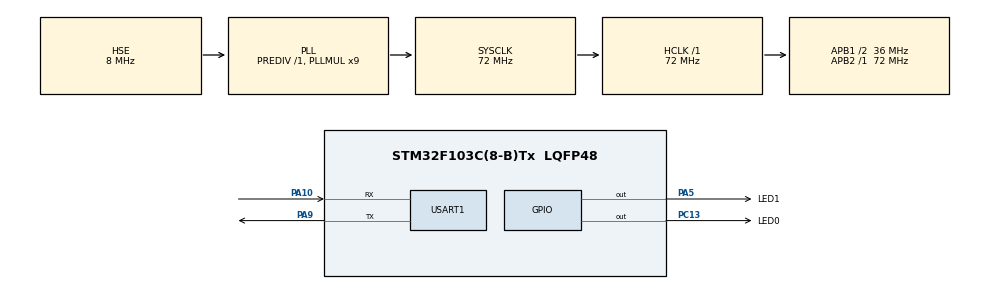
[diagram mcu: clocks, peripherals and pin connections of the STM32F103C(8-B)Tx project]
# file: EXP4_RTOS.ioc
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Mcu.Family=STM32F1
Mcu.Name=STM32F103C(8-B)Tx
Mcu.Package=LQFP48
NVIC.PriorityGroup=NVIC_PRIORITYGROUP_4
PA10.Mode=Asynchronous
PA10.Signal=USART1_RX
PA13.Mode=Serial_Wire
PA13.Signal=SYS_JTMS-SWDIO
PA14.Mode=Serial_Wire
PA14.Signal=SYS_JTCK-SWCLK
PA5.GPIO_Label=LED1
PA5.Signal=GPIO_Output
PA9.Mode=Asynchronous
PA9.Signal=USART1_TX
PC13-TAMPER-RTC.GPIO_Label=LED0
PC13-TAMPER-RTC.Signal=GPIO_Output
PD0-OSC_IN.Mode=HSE-External-Oscillator
PD0-OSC_IN.Signal=RCC_OSC_IN
PD1-OSC_OUT.Mode=HSE-External-Oscillator
PD1-OSC_OUT.Signal=RCC_OSC_OUT
ProjectManager.HeapSize=0x200
ProjectManager.StackSize=0x400
ProjectManager.TargetToolchain=MDK-ARM V5.32
RCC.AHBFreq_Value=72000000
RCC.APB1CLKDivider=RCC_HCLK_DIV2
RCC.APB1Freq_Value=36000000
RCC.APB1TimFreq_Value=72000000
RCC.APB2Freq_Value=72000000
RCC.APB2TimFreq_Value=72000000
RCC.HCLKFreq_Value=72000000
RCC.PLLMUL=RCC_PLL_MUL9
RCC.PLLSourceVirtual=RCC_PLLSOURCE_HSE
RCC.SYSCLKFreq_VALUE=72000000
RCC.SYSCLKSource=RCC_SYSCLKSOURCE_PLLCLK
RCC.USBFreq_Value=72000000
USART1.VirtualMode=VM_ASYNC
board=custom

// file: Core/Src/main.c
/* USER CODE BEGIN Header */
/**
  ******************************************************************************
  * @file           : main.c
  * @brief          : Main program body
  ******************************************************************************
  * @attention
  *
  * Copyright (c) 2026 STMicroelectronics.
  * All rights reserved.
  *
  * This software is licensed under terms that can be found in the LICENSE file
  * in the root directory of this software component.
  * If no LICENSE file comes with this software, it is provided AS-IS.
  *
  ******************************************************************************
  */
/* USER CODE END Header */
#include "main.h"
#include "usart.h"
#include "gpio.h"

/* USER CODE BEGIN Includes */
#include <includes.h>
/* USER CODE END Includes */

/* USER CODE BEGIN PD */
#define START_TASK_PRIO   3
#define LED0_TASK_PRIO    4
#define MSG_TASK_PRIO     5
#define LED1_TASK_PRIO    6

#define START_STK_SIZE    96
#define LED0_STK_SIZE     64
#define MSG_STK_SIZE      128
#define LED1_STK_SIZE     64
/* USER CODE END PD */

/* USER CODE BEGIN PV */
CPU_STK START_TASK_STK[START_STK_SIZE];
CPU_STK LED0_TASK_STK[LED0_STK_SIZE];
CPU_STK MSG_TASK_STK[MSG_STK_SIZE];
CPU_STK LED1_TASK_STK[LED1_STK_SIZE];

OS_TCB StartTaskTCB;
OS_TCB Led0TaskTCB;
OS_TCB MsgTaskTCB;
OS_TCB Led1TaskTCB;
/* USER CODE END PV */

void SystemClock_Config(void);
/* USER CODE BEGIN PFP */
void start_task(void *p_arg);
static void led0_task(void *p_arg);
static void led1_task(void *p_arg);
static void msg_task(void *p_arg);
/* USER CODE END PFP */

int main(void)
{

  /* MCU Configuration--------------------------------------------------------*/

  /* Reset of all peripherals, Initializes the Flash interface and the Systick. */
  HAL_Init();

  /* Configure the system clock */
  SystemClock_Config();

  /* Initialize all configured peripherals */
  MX_GPIO_Init();
  MX_USART1_UART_Init();
  /* USER CODE BEGIN 2 */
  OS_ERR err;
  OSInit(&err);

  OSTaskCreate((OS_TCB *)&StartTaskTCB,
             (CPU_CHAR *)"start_task",
             (OS_TASK_PTR)start_task,
             (void *)0,
             (OS_PRIO)START_TASK_PRIO,
             (CPU_STK *)&START_TASK_STK[0],
             (CPU_STK_SIZE)START_STK_SIZE / 10,
             (CPU_STK_SIZE)START_STK_SIZE,
             (OS_MSG_QTY)0,
             (OS_TICK)0,
             (void *)0,
             (OS_OPT)OS_OPT_TASK_STK_CHK | OS_OPT_TASK_STK_CLR,
             (OS_ERR *)&err);

  OSStart(&err);
  /* USER CODE END 2 */

  /* Infinite loop */
  while (1)
  {

  }
}

void SystemClock_Config(void)
{
  RCC_OscInitTypeDef RCC_OscInitStruct = {0};
  RCC_ClkInitTypeDef RCC_ClkInitStruct = {0};

  /** Initializes the RCC Oscillators according to the specified parameters
  * in the RCC_OscInitTypeDef structure.
  */
  RCC_OscInitStruct.OscillatorType = RCC_OSCILLATORTYPE_HSE;
  RCC_OscInitStruct.HSEState = RCC_HSE_ON;
  RCC_OscInitStruct.HSEPredivValue = RCC_HSE_PREDIV_DIV1;
  RCC_OscInitStruct.HSIState = RCC_HSI_ON;
  RCC_OscInitStruct.PLL.PLLState = RCC_PLL_ON;
  RCC_OscInitStruct.PLL.PLLSource = RCC_PLLSOURCE_HSE;
  RCC_OscInitStruct.PLL.PLLMUL = RCC_PLL_MUL9;
  if (HAL_RCC_OscConfig(&RCC_OscInitStruct) != HAL_OK)
  {
    Error_Handler();
  }

  /** Initializes the CPU, AHB and APB buses clocks
  */
  RCC_ClkInitStruct.ClockType = RCC_CLOCKTYPE_HCLK|RCC_CLOCKTYPE_SYSCLK
                              |RCC_CLOCKTYPE_PCLK1|RCC_CLOCKTYPE_PCLK2;
  RCC_ClkInitStruct.SYSCLKSource = RCC_SYSCLKSOURCE_PLLCLK;
  RCC_ClkInitStruct.AHBCLKDivider = RCC_SYSCLK_DIV1;
  RCC_ClkInitStruct.APB1CLKDivider = RCC_HCLK_DIV2;
  RCC_ClkInitStruct.APB2CLKDivider = RCC_HCLK_DIV1;

  if (HAL_RCC_ClockConfig(&RCC_ClkInitStruct, FLASH_LATENCY_2) != HAL_OK)
  {
    Error_Handler();
  }
}

/* USER CODE BEGIN 4 */
void start_task(void *p_arg) {
    OS_ERR err;

    OSTaskCreate((OS_TCB *)&Led0TaskTCB, (CPU_CHAR *)"led0_task",
                 (OS_TASK_PTR)led0_task, (void *)0, (OS_PRIO)LED0_TASK_PRIO,
                 (CPU_STK *)&LED0_TASK_STK[0], (CPU_STK_SIZE)LED0_STK_SIZE / 10,
                 (CPU_STK_SIZE)LED0_STK_SIZE, (OS_MSG_QTY)0, (OS_TICK)0,
                 (void *)0, (OS_OPT)OS_OPT_TASK_STK_CHK | OS_OPT_TASK_STK_CLR,
                 (OS_ERR *)&err);

    OSTaskCreate((OS_TCB *)&Led1TaskTCB, (CPU_CHAR *)"led1_task",
                 (OS_TASK_PTR)led1_task, (void *)0, (OS_PRIO)LED1_TASK_PRIO,
                 (CPU_STK *)&LED1_TASK_STK[0], (CPU_STK_SIZE)LED1_STK_SIZE / 10,
                 (CPU_STK_SIZE)LED1_STK_SIZE, (OS_MSG_QTY)0, (OS_TICK)0,
                 (void *)0, (OS_OPT)OS_OPT_TASK_STK_CHK | OS_OPT_TASK_STK_CLR,
                 (OS_ERR *)&err);

    OSTaskCreate((OS_TCB *)&MsgTaskTCB, (CPU_CHAR *)"msg_task",
                 (OS_TASK_PTR)msg_task, (void *)0, (OS_PRIO)MSG_TASK_PRIO,
                 (CPU_STK *)&MSG_TASK_STK[0], (CPU_STK_SIZE)MSG_STK_SIZE / 10,
                 (CPU_STK_SIZE)MSG_STK_SIZE, (OS_MSG_QTY)0, (OS_TICK)0,
                 (void *)0, (OS_OPT)OS_OPT_TASK_STK_CHK | OS_OPT_TASK_STK_CLR,
                 (OS_ERR *)&err);

                 OSTaskDel((OS_TCB *)0, &err);
}

static void led0_task(void *p_arg) {
    OS_ERR err;
    (void)p_arg;
    while (1) {
        /* ???LED0_Pin?LED0_GPIO_Port?CubeMX???????????? */
        HAL_GPIO_TogglePin(LED0_GPIO_Port, LED0_Pin);
        OSTimeDlyHMSM(0, 0, 1, 0, OS_OPT_TIME_HMSM_STRICT, &err); // 1?
    }
}

static void led1_task(void *p_arg) {
    OS_ERR err;
    (void)p_arg;
    while (1) {
        HAL_GPIO_TogglePin(LED1_GPIO_Port, LED1_Pin);
        OSTimeDlyHMSM(0, 0, 3, 0, OS_OPT_TIME_HMSM_STRICT, &err); // 3?
    }
}

static void msg_task(void *p_arg) {
    OS_ERR err;
    (void)p_arg;
    while (1) {
        printf("hello uC/OS! ��ӭ����RTOS�����񻷾�!\r\n");
        OSTimeDlyHMSM(0, 0, 2, 0, OS_OPT_TIME_HMSM_STRICT, &err); // 2?
    }
}
/* USER CODE END 4 */

void Error_Handler(void)
{
  __disable_irq();
  while (1)
  {
  }
}
